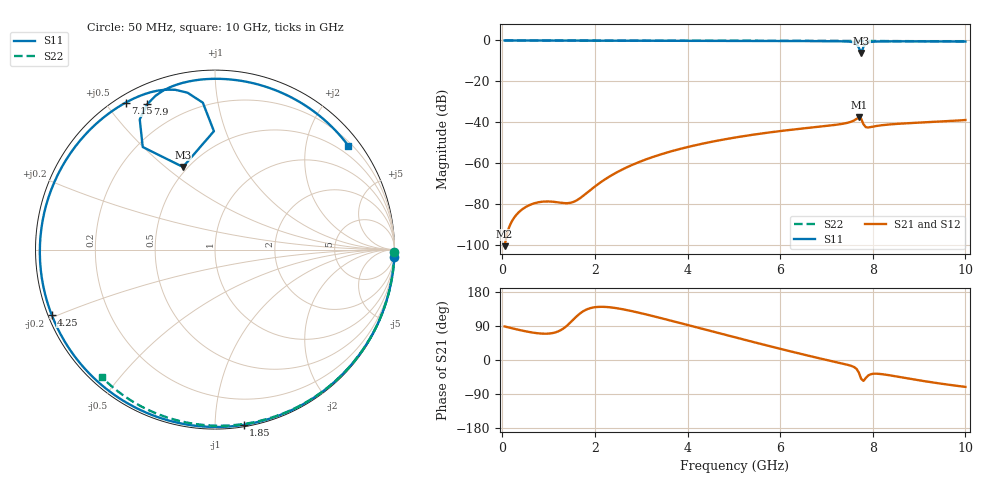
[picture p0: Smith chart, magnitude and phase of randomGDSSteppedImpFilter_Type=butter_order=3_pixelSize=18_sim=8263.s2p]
! freq	dB(S11)	phase(S11)	dB(S12)	phase(S12)
!  dB(S21)	phase(S21)	dB(S22)	phase(S22)
!S-par simulation data
#  GHz  S  DB  R 50
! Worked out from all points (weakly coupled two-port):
!   200 points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, 50 MHz to 10 GHz, reference 50 ohm
!   highest |S21| = -37.64 dB at 7.7 GHz (marker M1); lowest = -100.6 dB at 50 MHz (marker M2)
!   lowest |S11| = -6.1 dB at 7.75 GHz (marker M3), VSWR 2.95, Z = 23.6 + j28.8 ohm
!   |S11| at or under -10 dB: nowhere
!   |S22| runs from -0.4 to 0.0 dB; largest |S21 - S12| = 0
!   S11 on the Smith chart (normalised r, x): 50 MHz: 0, -48; 1.85 GHz: 0.01, -1.18; 4.25 GHz: 0.01, -0.19; 7.15 GHz: 0.03, +0.56; 7.9 GHz: 0.08, +0.63; 10 GHz: 0.28, +2.89
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0.05  -0.00 -2.4  -100.60 88.5  -100.60 88.5  -0.00 -0.8
0.5  -0.03 -23.3  -81.53 75.8  -81.53 75.8  -0.01 -7.6
0.95  -0.05 -43.5  -78.73 69.4  -78.73 69.4  -0.02 -14.3
1.45  -0.08 -64.8  -79.48 96.5  -79.48 96.5  -0.03 -21.8
1.75  -0.09 -76.9  -75.92 128.8  -75.92 128.8  -0.03 -26.2
1.85  -0.09 -80.7  -74.11 134.7  -74.11 134.7  -0.04 -27.7
2.55  -0.12 -106.2  -63.58 135.1  -63.58 135.1  -0.05 -37.9
3.4  -0.14 -133.6  -55.88 111.4  -55.88 111.4  -0.07 -49.9
4.25  -0.18 -158.3  -50.83 84.5  -50.83 84.5  -0.09 -61.6
5.05  -0.21 179.9  -47.38 59.1  -47.38 59.1  -0.11 -72.2
5.85  -0.25 158.5  -44.74 34.2  -44.74 34.2  -0.14 -82.5
6.7  -0.31 135.1  -42.53 8.7  -42.53 8.7  -0.18 -93.1
7.15  -0.37 121.4  -41.40 -4.1  -41.40 -4.1  -0.20 -98.5
7.55  -0.75 103.9  -39.59 -16.1  -39.59 -16.1  -0.23 -103.3
7.65  -1.71 94.7  -38.35 -23.5  -38.35 -23.5  -0.24 -104.5
7.7  -3.61 90.5  -37.64 -33.4  -37.64 -33.4  -0.24 -105.1
7.75  -6.13 111.2  -38.33 -49.9  -38.33 -49.9  -0.24 -105.7
7.8  -3.11 125.2  -40.99 -55.0  -40.99 -55.0  -0.25 -106.3
7.9  -0.98 115.0  -42.57 -41.0  -42.57 -41.0  -0.25 -107.5
8.35  -0.44 93.3  -41.10 -40.1  -41.10 -40.1  -0.29 -112.7
9.15  -0.45 66.4  -40.02 -56.5  -40.02 -56.5  -0.36 -121.9
10  -0.52 37.8  -38.90 -71.0  -38.90 -71.0  -0.45 -131.5
